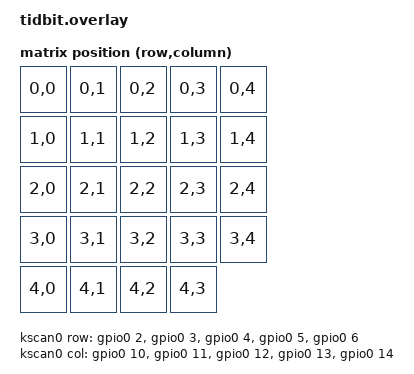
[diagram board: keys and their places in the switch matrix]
#include <dt-bindings/zmk/matrix_transform.h>

// numpad.overlay
/ {
    chosen {
        zmk,kscan = &kscan0;
        zmk,matrix-transform = &default_transform;
    };

    kscan0: kscan {
        compatible = "zmk,kscan-gpio-matrix";
        label = "default_kscan";
        diode-directions = "row2col";
    
        col-gpios = <&gpio0 10 GPIO_ACTIVE_LOW>,
                    <&gpio0 11 GPIO_ACTIVE_LOW>,
                    <&gpio0 12 GPIO_ACTIVE_LOW>,
                    <&gpio0 13 GPIO_ACTIVE_LOW>,
                    <&gpio0 14 GPIO_ACTIVE_LOW>;

        row-gpios = <&gpio0 2 GPIO_ACTIVE_LOW>,
                    <&gpio0 3 GPIO_ACTIVE_LOW>,
                    <&gpio0 4 GPIO_ACTIVE_LOW>,
                    <&gpio0 5 GPIO_ACTIVE_LOW>,
                    <&gpio0 6 GPIO_ACTIVE_LOW>;
    };

    default_transform: keymap_transform_0 {
        compatible = "zmk,matrix-transform";
        columns = <5>;
        rows = <5>;
        map = <
            RC(0,0) RC(0,1) RC(0,2) RC(0,3) RC(0,4)
            RC(1,0) RC(1,1) RC(1,2) RC(1,3) RC(1,4)
            RC(2,0) RC(2,1) RC(2,2) RC(2,3) RC(2,4)
            RC(3,0) RC(3,1) RC(3,2) RC(3,3) RC(3,4)
            RC(4,0) RC(4,1) RC(4,2) RC(4,3)
        >;
    };
};
    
